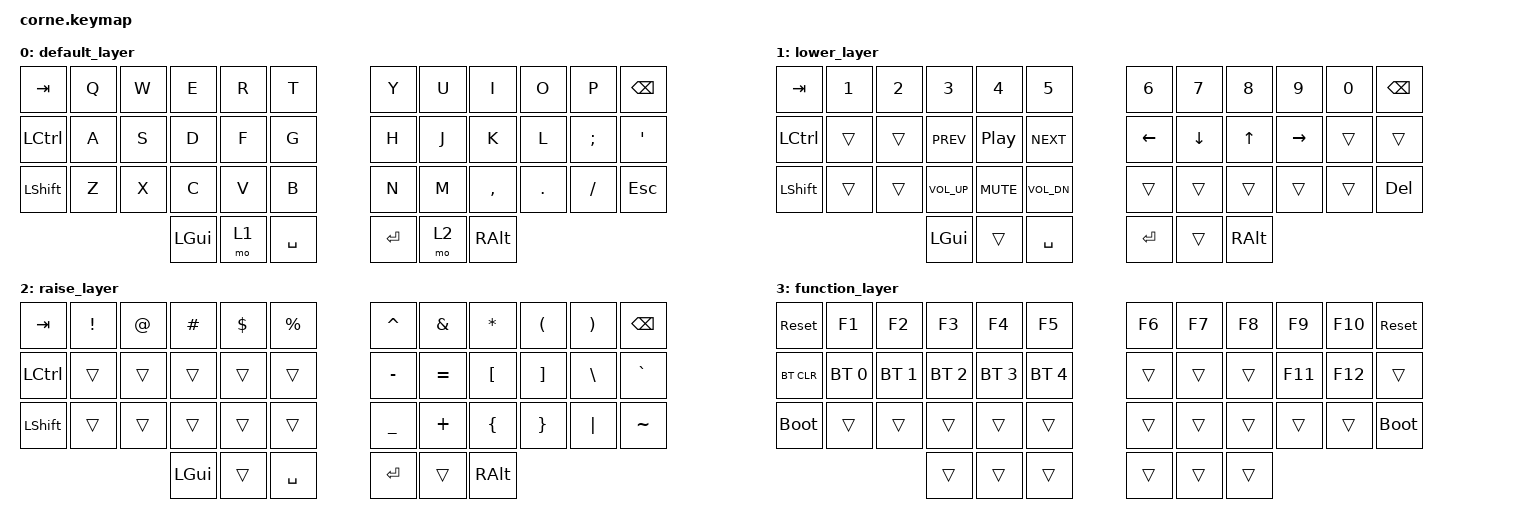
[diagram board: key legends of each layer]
/*
 * Copyright (c) 2020 The ZMK Contributors
 *
 * SPDX-License-Identifier: MIT
 */

#include <behaviors.dtsi>
#include <dt-bindings/zmk/bt.h>
#include <dt-bindings/zmk/keys.h>

/ {
    keymap {
        compatible = "zmk,keymap";

        default_layer {
            // -----------------------------------------------------------------------------------------
            // |  TAB |  Q  |  W  |  E  |  R  |  T  |   |  Y  |  U   |  I  |  O  |  P  | BSPC |
            // | CTRL |  A  |  S  |  D  |  F  |  G  |   |  H  |  J   |  K  |  L  |  ;  |  '   |
            // | SHFT |  Z  |  X  |  C  |  V  |  B  |   |  N  |  M   |  ,  |  .  |  /  | ESC  |
            //                    | GUI | LWR | SPC |   | ENT | RSE  | ALT |

            bindings = <
&kp TAB    &kp Q  &kp W  &kp E     &kp R  &kp T        &kp Y    &kp U  &kp I      &kp O    &kp P     &kp BSPC
&kp LCTRL  &kp A  &kp S  &kp D     &kp F  &kp G        &kp H    &kp J  &kp K      &kp L    &kp SEMI  &kp SQT
&kp LSHFT  &kp Z  &kp X  &kp C     &kp V  &kp B        &kp N    &kp M  &kp COMMA  &kp DOT  &kp FSLH  &kp ESC
                         &kp LGUI  &mo 1  &kp SPACE    &kp RET  &mo 2  &kp RALT
            >;
        };

        lower_layer {
            // -----------------------------------------------------------------------------------------
            // |  TAB |  1  |  2  |  3  |  4  |  5  |   |  6  |  7  |  8  |  9  |  0  | DEL  |
            // |      |     |     |     |     |     |   | LFT | DWN |  UP | RGT |     |      |
            // | SHFT |     |     |     |     |     |   |     |     |     |     |     |      |
            //                    | GUI |     | SPC |   | ENT |     | ALT |

            bindings = <
&kp TAB    &kp N1  &kp N2  &kp N3        &kp N4            &kp N5          &kp N6    &kp N7    &kp N8    &kp N9     &kp N0  &kp BACKSPACE
&kp LCTRL  &trans  &trans  &kp C_PREV    &kp C_PLAY_PAUSE  &kp C_NEXT      &kp LEFT  &kp DOWN  &kp UP    &kp RIGHT  &trans  &trans
&kp LSHFT  &trans  &trans  &kp C_VOL_UP  &kp C_MUTE        &kp C_VOL_DN    &trans    &trans    &trans    &trans     &trans  &kp DEL
                           &kp LGUI      &trans            &kp SPACE       &kp RET   &trans    &kp RALT
            >;
        };

        raise_layer {
            // -----------------------------------------------------------------------------------------
            // |  TAB |  !  |  @  |  #  |  $  |  %  |   |  ^  |  &  |  *  |  (  |  )  | BSPC |
            // | CTRL |     |     | PRV | PP  | NXT |   |  -  |  =  |  [  |  ]  |  \  |  `   |
            // | SHFT |     |     | VOL+| MT  | VOL-|   |  _  |  +  |  {  |  }  | "|" |  ~   |
            //                    | GUI |     | SPC |   | ENT |     | ALT |

            bindings = <
&kp TAB    &kp EXCL  &kp AT  &kp HASH  &kp DLLR  &kp PRCNT    &kp CARET  &kp AMPS   &kp ASTRK  &kp LPAR  &kp RPAR  &kp BSPC
&kp LCTRL  &trans    &trans  &trans    &trans    &trans       &kp MINUS  &kp EQUAL  &kp LBKT   &kp RBKT  &kp BSLH  &kp GRAVE
&kp LSHFT  &trans    &trans  &trans    &trans    &trans       &kp UNDER  &kp PLUS   &kp LBRC   &kp RBRC  &kp PIPE  &kp TILDE
                             &kp LGUI  &trans    &kp SPACE    &kp RET    &trans     &kp RALT
            >;
        };

        function_layer {
            // -----------------------------------------------------------------------------------------
            // | RSET |  F1 |  F2 |  F3 |  F4 |  F5 |   | F6  | F7  | F8  | F9  | F10 |      |
            // | BTCLR| BT1 | BT2 | BT3 | BT4 | BT5 |   |     |     |     | F11 | F12 |      |
            // |      |     |     |     |     |     |   |     |     |     |     |     |      |
            //                    | GUI |     | SPC |   | ENT |     | ALT |

            bindings = <
&sys_reset   &kp F1        &kp F2        &kp F3        &kp F4        &kp F5          &kp F6  &kp F7  &kp F8  &kp F9   &kp F10  &sys_reset
&bt BT_CLR   &bt BT_SEL 0  &bt BT_SEL 1  &bt BT_SEL 2  &bt BT_SEL 3  &bt BT_SEL 4    &trans  &trans  &trans  &kp F11  &kp F12  &trans
&bootloader  &trans        &trans        &trans        &trans        &trans          &trans  &trans  &trans  &trans   &trans   &bootloader
                                         &trans        &trans        &trans          &trans  &trans  &trans
            >;
        };
    };

    conditional_layers {
        compatible = "zmk,conditional-layers";

        Both {
            if-layers = <1 2>;
            then-layer = <3>;
        };
    };
};
